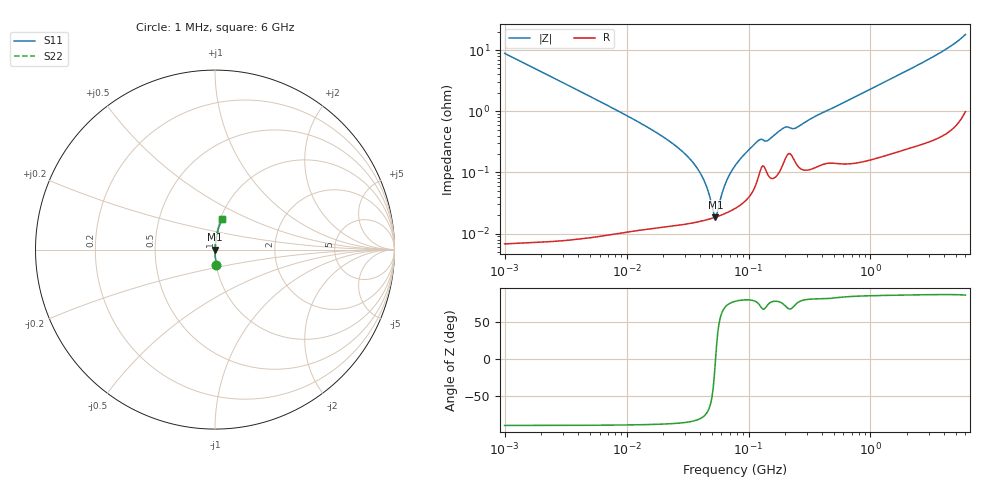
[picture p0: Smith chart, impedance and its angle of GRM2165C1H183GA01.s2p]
!Murata Part Number: GRM2165C1H183GA01
!These Parameters are Measured in Series Mode Connection
!Data Generated on Mar 30, 2021
!  o--ll--o
!Port1  Port2
!  o------o
!Operation Temp=25[degC], DC Bias Voltage=0[V]
!Freq. Start=1000[kHz] Stop=6[GHz] 401[Steps]
# Hz S RI R 50
!Freq.(Hz) S11(Real) S11(Imag) S21(Real) S21(Imag) S12(Real) S12(Imag) S22(Real) S22(Imag)
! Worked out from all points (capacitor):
!   401 points, 1 MHz to 6 GHz, reference 50 ohm
!   read as one part in series: C = 18 nF near 1.044 MHz
!   lowest |Z| = 18.5 mohm at 53.52 MHz (marker M1)
!   series resonance near 53.66 MHz, so ESL is about 490 pH
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1000000  0.00782 -0.0877  0.9922 0.0877  0.9922 0.0877  0.00782 -0.0877
4293785  0.0005 -0.0204  0.9995 0.0204  0.9995 0.0204  0.0005 -0.0204
1.843659e7  0.000142 -0.00421  0.9999 0.00421  0.9999 0.00421  0.000142 -0.00421
2.787038e7  0.000144 -0.00231  0.9999 0.00231  0.9999 0.00231  0.000144 -0.00231
3.697709e7  0.000154 -0.00125  0.9998 0.00125  0.9998 0.00125  0.000154 -0.00125
4.400437e7  0.000166 -0.000657  0.9998 0.000657  0.9998 0.000657  0.000166 -0.000657
4.697123e7  0.000171 -0.000439  0.9998 0.000439  0.9998 0.000439  0.000171 -0.000439
5.124051e7  0.00018 -0.000152  0.9998 0.000152  0.9998 0.000152  0.00018 -0.000152
5.351853e7  0.000185 -8.4e-06  0.9998 8.4e-06  0.9998 8.4e-06  0.000185 -8.4e-06
5.589783e7  0.000191 0.000135  0.9998 -0.000135  0.9998 -0.000135  0.000191 0.000135
6.097846e7  0.000204 0.000425  0.9998 -0.000425  0.9998 -0.000425  0.000204 0.000425
6.508975e7  0.000216 0.000644  0.9998 -0.000644  0.9998 -0.000644  0.000216 0.000644
7.745967e7  0.000258 0.00125  0.9997 -0.00125  0.9997 -0.00125  0.000258 0.00125
9.420718e7  0.000346 0.00202  0.9997 -0.00202  0.9997 -0.00202  0.000346 0.00202
1.223006e8  0.000938 0.00325  0.9991 -0.00325  0.9991 -0.00325  0.000938 0.00325
1.424119e8  0.000969 0.00314  0.999 -0.00314  0.999 -0.00314  0.000969 0.00314
1.930997e8  0.00142 0.0051  0.9986 -0.0051  0.9986 -0.0051  0.00142 0.0051
2.400133e8  0.00153 0.00502  0.9985 -0.00502  0.9985 -0.00502  0.00153 0.00502
3.325952e8  0.0012 0.00765  0.9988 -0.00765  0.9988 -0.00765  0.0012 0.00765
1.428092e9  0.00302 0.0327  0.997 -0.0327  0.997 -0.0327  0.00302 0.0327
3.5601e9  0.0108 0.0844  0.9892 -0.0844  0.9892 -0.0844  0.0108 0.0844
6e9  0.04 0.1705  0.96 -0.1705  0.96 -0.1705  0.04 0.1705
